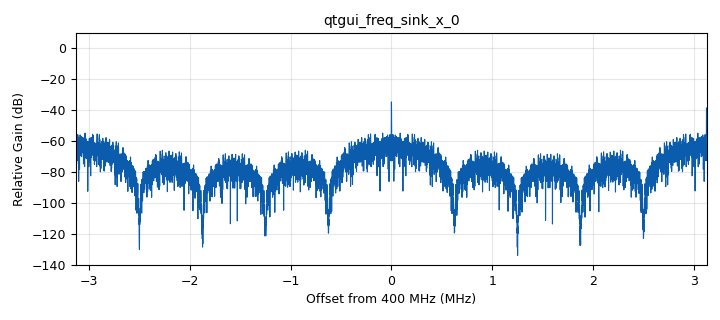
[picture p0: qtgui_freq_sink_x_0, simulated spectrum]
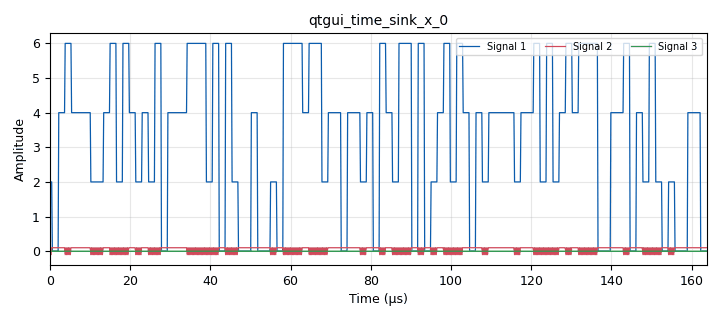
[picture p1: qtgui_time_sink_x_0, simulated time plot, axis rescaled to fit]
options:
  parameters:
    author: Diego_Sindy_UIS
    generate_options: qt_gui
    id: FSK
    output_language: python
    title: Modulacion FSK
  states: {}

blocks:
- name: AC
  id: variable_qtgui_range
  parameters:
    label: amplitud portadora
    start: '0'
    step: '100e-3'
    stop: '2'
    value: '100e-3'
  states: {}
- name: B
  id: variable_qtgui_range
  parameters:
    label: '#muestras por simbolo'
    start: '1'
    step: '1'
    stop: '40'
    value: '10'
  states: {}
- name: DC
  id: variable_qtgui_range
  parameters:
    label: Nivel promedio de la señal modulante
    start: '-8'
    step: '10e-3'
    stop: '8'
    value: '0'
  states: {}
- name: GTX
  id: variable_qtgui_range
  parameters:
    label: Ganancia del Transmisor
    start: '0'
    step: '1'
    stop: '30'
    value: '0'
  states: {}
- name: 'No'
  id: variable_qtgui_range
  parameters:
    label: Amplitud del RUIDO
    start: '0'
    step: '100e-6'
    stop: '30e-3'
    value: '100e-6'
  states: {}
- name: fc
  id: variable_qtgui_range
  parameters:
    label: Frecuencia de Portadora
    start: 50e6
    step: 1e6
    stop: 2.2e9
    value: 400e6
  states: {}
- name: kf
  id: variable_qtgui_range
  parameters:
    label: coeficiente de sensibilidad kf (rad/volt)
    start: '-2*math.pi'
    step: '1e-3'
    stop: 2*math.pi
    value: math.pi/2
  states: {}
- name: kp
  id: variable_qtgui_range
  parameters:
    label: Coeficiente de sensibilidad kp (MHz/volt)
    start: '-2*math.pi'
    step: '1e-3'
    stop: 2*math.pi
    value: math.pi/math.pow(2,n)
  states: {}
- name: n
  id: variable_qtgui_range
  parameters:
    label: '#de bit por simbolo'
    start: '1'
    step: '1'
    stop: '4'
    value: '2'
  states: {}
- name: samp_rate
  id: variable
  parameters:
    value: 625e4
  states: {}
- name: analog_frequency_modulator_fc_0
  id: analog_frequency_modulator_fc
  parameters:
    sensitivity: kf
  states: {}
- name: analog_noise_source_x_0
  id: analog_noise_source_x
  parameters:
    amp: 'No'
    noise_type: analog.GR_GAUSSIAN
    seed: '0'
    type: complex
  states: {}
- name: analog_phase_modulator_fc_0
  id: analog_phase_modulator_fc
  parameters:
    sensitivity: kp
  states: {state: disabled}
- name: analog_random_source_x_0
  id: analog_random_source_x
  parameters:
    max: int(math.pow(2,n))
    min: '0'
    num_samps: '1000'
    repeat: 'True'
    type: byte
  states: {}
- name: blocks_add_const_vxx_0
  id: blocks_add_const_vxx
  parameters:
    const: DC
    type: float
  states: {}
- name: blocks_add_xx_0
  id: blocks_add_xx
  parameters:
    type: complex
  states: {}
- name: blocks_complex_to_float_0
  id: blocks_complex_to_float
  parameters: {}
  states: {}
- name: blocks_multiply_const_vxx_0
  id: blocks_multiply_const_vxx
  parameters:
    const: '2'
    type: float
  states: {}
- name: blocks_multiply_const_vxx_0_0
  id: blocks_multiply_const_vxx
  parameters:
    const: AC
    type: complex
  states: {}
- name: blocks_repeat_0
  id: blocks_repeat
  parameters:
    interp: B
    type: float
  states: {}
- name: blocks_uchar_to_float_0
  id: blocks_uchar_to_float
  parameters: {}
  states: {}
- name: import_0
  id: import
  parameters:
    imports: import math
  states: {}
- name: qtgui_const_sink_x_0
  id: qtgui_const_sink_x
  parameters:
    size: '1024'
    type: complex
  states: {state: disabled}
- name: qtgui_freq_sink_x_0
  id: qtgui_freq_sink_x
  parameters:
    bw: samp_rate
    fc: fc
    fftsize: 1024*8
    type: complex
  states: {}
- name: qtgui_time_sink_x_0
  id: qtgui_time_sink_x
  parameters:
    nconnections: '3'
    size: '1024'
    srate: samp_rate
    type: float
  states: {}
- name: uhd_usrp_sink_0
  id: uhd_usrp_sink
  parameters:
    ant0: '"TX/RX"'
    center_freq0: fc
    gain0: GTX
    samp_rate: samp_rate
    sync: pc_clock
    type: fc32
  states: {}
- name: virtual_sink_0
  id: virtual_sink
  parameters:
    stream_id: m(t)
  states: {}
- name: virtual_sink_1
  id: virtual_sink
  parameters:
    stream_id: g(t)
  states: {}
- name: virtual_source_0
  id: virtual_source
  parameters:
    stream_id: g(t)
  states: {}
- name: virtual_source_1
  id: virtual_source
  parameters:
    stream_id: m(t)
  states: {}
- name: virtual_source_2
  id: virtual_source
  parameters:
    stream_id: m(t)
  states: {}

connections:
- [analog_frequency_modulator_fc_0, '0', blocks_multiply_const_vxx_0_0, '0']
- [analog_noise_source_x_0, '0', blocks_add_xx_0, '1']
- [analog_phase_modulator_fc_0, '0', blocks_multiply_const_vxx_0_0, '0']
- [analog_random_source_x_0, '0', blocks_uchar_to_float_0, '0']
- [blocks_add_const_vxx_0, '0', blocks_multiply_const_vxx_0, '0']
- [blocks_add_xx_0, '0', blocks_complex_to_float_0, '0']
- [blocks_add_xx_0, '0', qtgui_const_sink_x_0, '0']
- [blocks_add_xx_0, '0', qtgui_freq_sink_x_0, '0']
- [blocks_add_xx_0, '0', uhd_usrp_sink_0, '0']
- [blocks_complex_to_float_0, '0', qtgui_time_sink_x_0, '1']
- [blocks_complex_to_float_0, '1', qtgui_time_sink_x_0, '2']
- [blocks_multiply_const_vxx_0, '0', virtual_sink_0, '0']
- [blocks_multiply_const_vxx_0_0, '0', virtual_sink_1, '0']
- [blocks_repeat_0, '0', blocks_add_const_vxx_0, '0']
- [blocks_uchar_to_float_0, '0', blocks_repeat_0, '0']
- [virtual_source_0, '0', blocks_add_xx_0, '0']
- [virtual_source_1, '0', analog_frequency_modulator_fc_0, '0']
- [virtual_source_1, '0', analog_phase_modulator_fc_0, '0']
- [virtual_source_2, '0', qtgui_time_sink_x_0, '0']

metadata:
  file_format: 1
